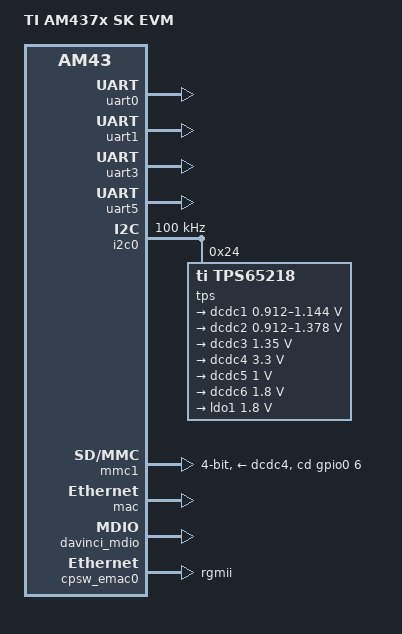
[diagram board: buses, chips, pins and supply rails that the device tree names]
/*
 * Copyright (C) 2015 Embest Technology Co., Ltd., - http://www.embest-tech.com
 *
 * This program is free software; you can redistribute it and/or modify
 * it under the terms of the GNU General Public License version 2 as
 * published by the Free Software Foundation.
 *
 * This dts is for embest own product:
 * SOM-PH8800 + BB-SPH1800
 */
/dts-v1/;

#include "am4372.dtsi"
#include <dt-bindings/pinctrl/am43xx.h>
#include <dt-bindings/pwm/pwm.h>
#include <dt-bindings/gpio/gpio.h>
#include <dt-bindings/input/input.h>

/ {
	model = "TI AM437x SK EVM";
	compatible = "ti,am437x-sk-evm","ti,am4372","ti,am43";

	aliases {

		serial1 = &uart1;
		serial3 = &uart3;
		serial5 = &uart5;
	};
};

&cpu {
	cpu0-supply = <&dcdc2>;
};

&uart0 {
	status = "okay";
	pinctrl-names = "default";
	pinctrl-0 = <&uart0_pins>;
};

&uart1 {
	pinctrl-names = "default";
	pinctrl-0 = <&uart1_pins>;
	status = "okay";
};

&uart3 {
	pinctrl-names = "default";
	pinctrl-0 = <&uart3_pins>;
	status = "okay";
};

&uart5 {
	pinctrl-names = "default";
	pinctrl-0 = <&uart5_pins>;
	status = "okay";
};

&i2c0 {
	status = "okay";
	pinctrl-names = "default";
	pinctrl-0 = <&i2c0_pins>;
	clock-frequency = <100000>;

	tps@24 {
		compatible = "ti,tps65218";
		reg = <0x24>;
		interrupts = <GIC_SPI 7 IRQ_TYPE_LEVEL_HIGH>;
		interrupt-controller;
		#interrupt-cells = <2>;

		dcdc1: regulator-dcdc1 {
			compatible = "ti,tps65218-dcdc1";
			/* VDD_CORE limits min of OPP50 and max of OPP100 */
			regulator-name = "vdd_core";
			regulator-min-microvolt = <912000>;
			regulator-max-microvolt = <1144000>;
			regulator-boot-on;
			regulator-always-on;
		};

		dcdc2: regulator-dcdc2 {
			compatible = "ti,tps65218-dcdc2";
			/* VDD_MPU limits min of OPP50 and max of OPP_NITRO */
			regulator-name = "vdd_mpu";
			regulator-min-microvolt = <912000>;
			regulator-max-microvolt = <1378000>;
			regulator-boot-on;
			regulator-always-on;
		};

		dcdc3: regulator-dcdc3 {
			compatible = "ti,tps65218-dcdc3";
			regulator-name = "vdds_ddr";
			regulator-min-microvolt = <1350000>;
			regulator-max-microvolt = <1350000>;
			regulator-boot-on;
			regulator-always-on;
			regulator-state-mem {
				regulator-on-in-suspend;
			};
			regulator-state-disk {
				regulator-off-in-suspend;
			};
		};

		dcdc4: regulator-dcdc4 {
			compatible = "ti,tps65218-dcdc4";
			regulator-name = "v3_3d";
			regulator-min-microvolt = <3300000>;
			regulator-max-microvolt = <3300000>;
			regulator-boot-on;
			regulator-always-on;
		};

		dcdc5: regulator-dcdc5 {
			compatible = "ti,tps65218-dcdc5";
			regulator-name = "v1_0bat";
			regulator-min-microvolt = <1000000>;
			regulator-max-microvolt = <1000000>;
			regulator-boot-on;
			regulator-always-on;
			regulator-state-mem {
				regulator-on-in-suspend;
			};
		};

		dcdc6: regulator-dcdc6 {
			compatible = "ti,tps65218-dcdc6";
			regulator-name = "v1_8bat";
			regulator-min-microvolt = <1800000>;
			regulator-max-microvolt = <1800000>;
			regulator-boot-on;
			regulator-always-on;
			regulator-state-mem {
				regulator-on-in-suspend;
			};
		};

		ldo1: regulator-ldo1 {
			compatible = "ti,tps65218-ldo1";
			regulator-name = "v1_8d";
			regulator-min-microvolt = <1800000>;
			regulator-max-microvolt = <1800000>;
			regulator-boot-on;
			regulator-always-on;
		};

		power-button {
			compatible = "ti,tps65218-pwrbutton";
			status = "okay";
			interrupts = <3 IRQ_TYPE_EDGE_BOTH>;
		};
	};
};

&mmc1 {
	status = "okay";
	pinctrl-names = "default", "sleep";
	pinctrl-0 = <&mmc1_pins>;
	pinctrl-1 = <&mmc1_pins_sleep>;

	vmmc-supply = <&dcdc4>;
	bus-width = <4>;
	cd-gpios = <&gpio0 6 GPIO_ACTIVE_HIGH>;
};

&gpio0 {
	status = "okay";
};

&mac {
	pinctrl-names = "default", "sleep";
	pinctrl-0 = <&cpsw_default>;
	dual_emac = <1>;
	status = "okay";
};

&davinci_mdio {
	pinctrl-names = "default", "sleep";
	pinctrl-0 = <&davinci_mdio_default>;
	status = "okay";
};

&cpsw_emac0 {
	phy_id = <&davinci_mdio>, <7>;
	phy-mode = "rgmii";
	dual_emac_res_vlan = <1>;
};



&am43xx_pinmux {
	/* UART0 pins: rxd & txd */
	uart0_pins: pinmux_uart0_pins {
		pinctrl-single,pins = <
			0x170 (PIN_INPUT_PULLUP | MUX_MODE0)	/* uart0_rxd.uart0_rxd */
			0x174 (PIN_OUTPUT_PULLDOWN | MUX_MODE0)	/* uart0_txd.uart0_txd */
		>;
	};

	/* UART1 pins: rxd & txd */
	uart1_pins: pinmux_uart1_pins {
		pinctrl-single,pins = <
			0x180 (PIN_INPUT_PULLUP | MUX_MODE0)	/* uart1_rxd.uart1_rxd */
			0x184 (PIN_OUTPUT_PULLDOWN | MUX_MODE0)	/* uart1_txd.uart1_txd */
		>;
	};

	/* UART3 pins: rxd & txd */
	uart3_pins: pinmux_uart3_pins {
		pinctrl-single,pins = <
			0x228 (PIN_INPUT_PULLUP | MUX_MODE0)	/* uart3_rxd.uart3_rxd */
			0x22c (PIN_OUTPUT_PULLDOWN | MUX_MODE0)	/* uart3_txd.uart3_txd */
			0x234 (PIN_OUTPUT_PULLDOWN | MUX_MODE7)	/* uart3_rts.gpio5_1   */
			0x230 (PIN_OUTPUT_PULLDOWN | MUX_MODE7)	/* uart3_cts.gpio5_0   */
		>;
	};

	/* UART5 pins: rxd & txd */
	uart5_pins: pinmux_uart5_pins {
		pinctrl-single,pins = <
			0x108 (PIN_INPUT_PULLUP | MUX_MODE3)	/* mii1_col.uart5_rxd */
			0x144 (PIN_OUTPUT_PULLDOWN | MUX_MODE3)	/* rmii1_refclk.uart5_txd */
			0x10c (PIN_OUTPUT_PULLDOWN | MUX_MODE7)	/* ctsn */
			0x110 (PIN_OUTPUT_PULLDOWN | MUX_MODE7) /* rtsn */
		>;
	};

	/* I2C0 pins: sda & scl */
	i2c0_pins: i2c0_pins {
		pinctrl-single,pins = <
			0x188 (PIN_INPUT | SLEWCTRL_FAST | MUX_MODE0)  /* i2c0_sda.i2c0_sda */
			0x18c (PIN_INPUT | SLEWCTRL_FAST | MUX_MODE0)  /* i2c0_scl.i2c0_scl */
		>;
	};

	/* MMC1 pins:  data0 - data3; clk; cmd; detect pin */
	mmc1_pins: pinmux_mmc1_pins {
		pinctrl-single,pins = <
			0x0f0 (PIN_INPUT | MUX_MODE0) /* mmc0_dat3.mmc0_dat3 */
			0x0f4 (PIN_INPUT | MUX_MODE0) /* mmc0_dat2.mmc0_dat2 */
			0x0f8 (PIN_INPUT | MUX_MODE0) /* mmc0_dat1.mmc0_dat1 */
			0x0fc (PIN_INPUT | MUX_MODE0) /* mmc0_dat0.mmc0_dat0 */
			0x100 (PIN_INPUT | MUX_MODE0) /* mmc0_clk.mmc0_clk */
			0x104 (PIN_INPUT | MUX_MODE0) /* mmc0_cmd.mmc0_cmd */
			0x160 (PIN_INPUT | MUX_MODE7) /* spi0_cs1.gpio0_6 */
		>;
	};

	/* MMC1 pins:  data0 - data3; clk; cmd; detect pin */
	mmc1_pins_sleep: pinmux_mmc1_pins_sleep {
		pinctrl-single,pins = <
			0x0F0 (PIN_INPUT_PULLDOWN | MUX_MODE7)
			0x0F4 (PIN_INPUT_PULLDOWN | MUX_MODE7)
			0x0F8 (PIN_INPUT_PULLDOWN | MUX_MODE7)
			0x0FC (PIN_INPUT_PULLDOWN | MUX_MODE7)
			0x100 (PIN_INPUT_PULLDOWN | MUX_MODE7)
			0x104 (PIN_INPUT_PULLDOWN | MUX_MODE7)
			0x1A0 (PIN_INPUT_PULLDOWN | MUX_MODE7)
			0x160 (PIN_INPUT_PULLDOWN | MUX_MODE7)
		>;
	};

	cpsw_default: cpsw_default {
		pinctrl-single,pins = <
			/* Slave 1 */
			0x12c (PIN_OUTPUT | MUX_MODE2)	/* mii1_txclk.rmii1_tclk */
			0x114 (PIN_OUTPUT | MUX_MODE2)	/* mii1_txen.rgmii1_tctl */
			0x128 (PIN_OUTPUT | MUX_MODE2)	/* mii1_txd0.rgmii1_td0 */
			0x124 (PIN_OUTPUT | MUX_MODE2)	/* mii1_txd1.rgmii1_td1 */
			0x120 (PIN_OUTPUT | MUX_MODE2)	/* mii1_txd0.rgmii1_td2 */
			0x11c (PIN_OUTPUT | MUX_MODE2)	/* mii1_txd1.rgmii1_td3 */
			0x130 (PIN_INPUT | MUX_MODE2)	/* mii1_rxclk.rmii1_rclk */
			0x118 (PIN_INPUT | MUX_MODE2)	/* mii1_rxdv.rgmii1_rctl */
			0x140 (PIN_INPUT | MUX_MODE2)	/* mii1_rxd0.rgmii1_rd0 */
			0x13c (PIN_INPUT | MUX_MODE2)	/* mii1_rxd1.rgmii1_rd1 */
			0x138 (PIN_INPUT | MUX_MODE2)	/* mii1_rxd0.rgmii1_rd2 */
			0x134 (PIN_INPUT | MUX_MODE2)	/* mii1_rxd1.rgmii1_rd3 */

			/* Slave 2 */
			0x58 (PIN_OUTPUT | MUX_MODE2)	/* gpmc_a6.rgmii2_tclk */
			0x40 (PIN_OUTPUT | MUX_MODE2)	/* gpmc_a0.rgmii2_tctl */
			0x54 (PIN_OUTPUT | MUX_MODE2)	/* gpmc_a5.rgmii2_td0 */
			0x50 (PIN_OUTPUT | MUX_MODE2)	/* gpmc_a4.rgmii2_td1 */
			0x4c (PIN_OUTPUT | MUX_MODE2)	/* gpmc_a3.rgmii2_td2 */
			0x48 (PIN_OUTPUT | MUX_MODE2)	/* gpmc_a2.rgmii2_td3 */
			0x5c (PIN_INPUT | MUX_MODE2)	/* gpmc_a7.rgmii2_rclk */
			0x44 (PIN_INPUT | MUX_MODE2)	/* gpmc_a1.rgmii2_rtcl */
			0x6c (PIN_INPUT | MUX_MODE2)	/* gpmc_a11.rgmii2_rd0 */
			0x68 (PIN_INPUT | MUX_MODE2)	/* gpmc_a10.rgmii2_rd1 */
			0x64 (PIN_INPUT | MUX_MODE2)	/* gpmc_a9.rgmii2_rd2 */
			0x60 (PIN_INPUT | MUX_MODE2)	/* gpmc_a8.rgmii2_rd3 */
		>;
	};

	davinci_mdio_default: davinci_mdio_default {
		pinctrl-single,pins = <
			/* MDIO */
			0x148 (PIN_INPUT | SLEWCTRL_FAST | MUX_MODE0)	/* mdio_data.mdio_data */
			0x14c (PIN_OUTPUT | MUX_MODE0)			/* mdio_clk.mdio_clk */
		>;
	};

};
